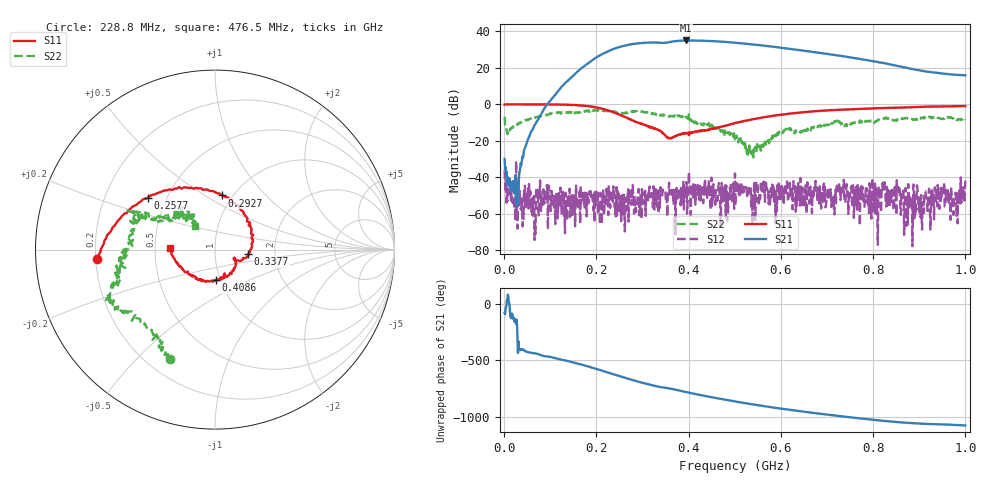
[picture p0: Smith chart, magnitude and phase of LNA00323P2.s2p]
! Created with skrf 1.9.0 (http://scikit-rf.org).
# Hz S RI R 50.0
!freq ReS11 ImS11 ReS21 ImS21 ReS12 ImS12 ReS22 ImS22
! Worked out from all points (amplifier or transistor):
!   1001 points, 1 MHz to 1 GHz, reference 50 ohm
!   highest |S21| = 35.1 dB at 394.6 MHz (marker M1)
!   |S21| within 3 dB of that: 259.3 MHz to 568.3 MHz (309 MHz wide, 74.7 % of centre)
!   unconditionally stable (mu >= 1): 6.545 MHz to 77.92 MHz; 278.7 MHz to 400.2 MHz; 401.1 MHz to end of sweep (the widest 3 of 29)
!   at 166.8 MHz: K = 2.08, MAG = 31.0 dB, |S12| = -54.2 dB
!   at 500.5 MHz: K = 1.01, MAG = 35.2 dB, |S12| = -37.9 dB
!   at 1 GHz: K = 1.46, MAG = 24.2 dB, |S12| = -40.6 dB
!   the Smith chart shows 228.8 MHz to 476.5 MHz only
!   S11 on the Smith chart (normalised r, x): 228.8 MHz: 0.20, -0.04; 257.7 MHz: 0.39, +0.29; 292.7 MHz: 0.90, +0.59; 337.7 MHz: 1.45, -0.08; 408.6 MHz: 0.95, -0.33; 476.5 MHz: 0.60, +0.01
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1000000  0.9854 0.00714  0.0054 -0.0313  -0.0141 0.00688  0.3312 0.3176
1.08892e8  0.517 -0.8488  -0.7964 -1.533  -0.0013 -0.000652  0.4305 -0.3632
1.67833e8  -0.2395 -0.8984  -9.879 -0.6225  0.00151 0.00349  0.0657 -0.622
2.03797e8  -0.6408 -0.4813  -16 13.16  -6.11e-06 -0.000933  -0.1573 -0.6589
2.28772e8  -0.6599 -0.0548  -9.269 28.17  0.00107 0.00206  -0.2516 -0.6119
2.57743e8  -0.3758 0.2894  12.33 37.84  -0.00175 -0.0015  -0.3927 -0.4119
2.92708e8  0.0395 0.3015  40.56 24.58  1.22e-05 -0.000899  -0.5885 -0.2552
3.13687e8  0.1773 0.1576  48.94 7.086  0.00314 -0.00127  -0.5424 -0.1998
3.34666e8  0.1944 -0.00716  48.36 -9.478  0.000869 -0.000541  -0.5338 -0.0654
3.37663e8  0.1852 -0.0262  47.58 -11.47  -0.00145 -4.14e-05  -0.5048 -0.0495
3.68632e8  0.1164 -0.0612  44.36 -30.66  -0.00233 0.00413  -0.446 0.1366
3.94606e8  0.064 -0.152  29.17 -48.5  0.00573 0.00456  -0.3857 0.2064
4.08592e8  0.00288 -0.1684  18.29 -53.36  0.00383 0.000969  -0.3172 0.1574
4.4056e8  -0.1393 -0.138  -6.756 -54.7  0.00257 -0.000914  -0.173 0.2136
4.76524e8  -0.2534 0.00835  -29.18 -42.91  0.00292 -0.000174  -0.1114 0.1316
5.005e8  -0.272 0.1483  -38.57 -30.59  0.0128 0.000126  -0.0817 0.0735
5.4046e8  -0.1929 0.3432  -42.84 -8.934  -0.00132 -0.000523  -0.0352 -0.00181
5.88412e8  0.0208 0.4951  -35.49 11.65  0.000528 -0.000146  -0.1101 -0.0752
6.67333e8  0.4021 0.4931  -13.23 24.03  -0.000771 -0.000695  -0.2212 -0.0442
7.53247e8  0.6784 0.279  4.23 18.69  -0.00307 0.00233  -0.2926 0.0144
8.34166e8  0.7978 0.0193  9.272 8.691  -0.00239 0.000853  -0.4019 0.0669
1e9  0.7308 -0.5239  6.235 0.7364  -0.00925 0.00146  -0.1712 0.3359
